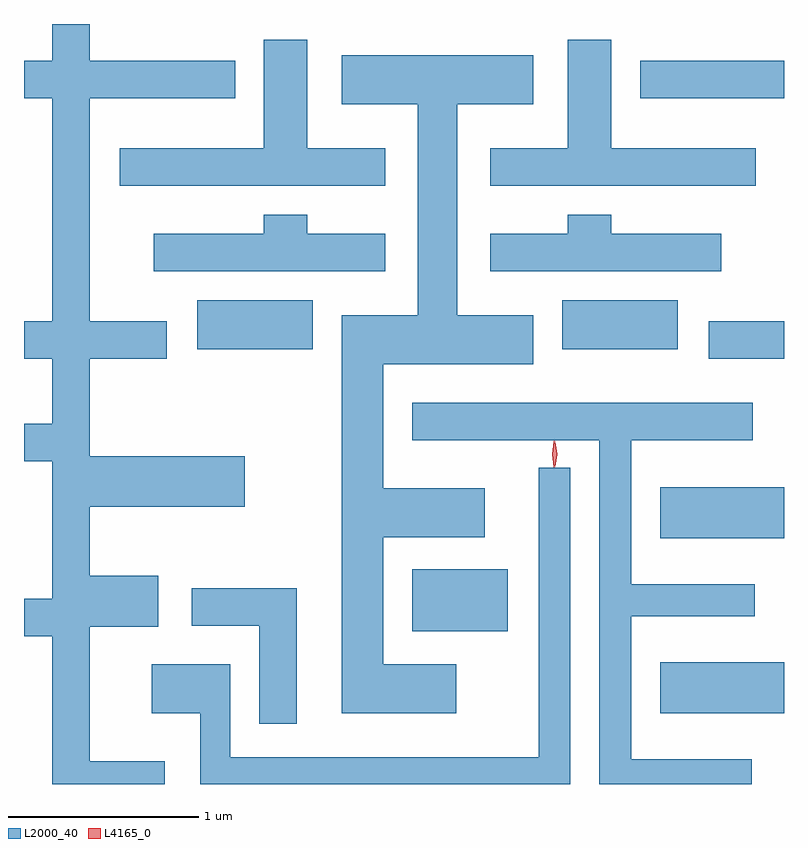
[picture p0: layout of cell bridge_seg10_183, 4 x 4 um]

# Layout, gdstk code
import gdstk
lib = gdstk.Library(unit=1e-6, precision=1e-09)
def R(c, l, rs):  # rectangles x0, y0, x1, y1
    for r in rs: c.add(gdstk.rectangle(r[:2], r[2:], *l))
def P(c, l, *ps):  # polygons
    for p in ps: c.add(gdstk.Polygon(p, *l))
L2000_40 = (2000, 40)
L4165_0 = (4165, 0)

bridge_seg10_183 = lib.new_cell('bridge_seg10_183')
R(bridge_seg10_183, L2000_40, [(1911.231,2140.881,1911.883,2141.149), (1909.926,2141.311,1910.429,2141.639), (1911.231,2141.801,1911.883,2142.069), (1911.486,2142.746,1911.883,2142.944), (1908.796,2142.796,1909.404,2143.054), (1910.716,2142.796,1911.324,2143.054), (1911.126,2144.116,1911.883,2144.314)])
P(bridge_seg10_183, L2000_40, [(1908.624,2140.629),(1908.229,2140.629),(1908.229,2141.336),(1908.589,2141.336),(1908.589,2141.604),(1908.229,2141.604),(1908.229,2141.966),(1909.044,2141.966),(1909.044,2142.234),(1908.229,2142.234),(1908.229,2142.746),(1908.634,2142.746),(1908.634,2142.944),(1908.229,2142.944),(1908.229,2144.116),(1908.994,2144.116),(1908.994,2144.314),(1908.229,2144.314),(1908.229,2144.508),(1908.031,2144.508),(1908.031,2144.314),(1907.883,2144.314),(1907.883,2144.116),(1908.031,2144.116),(1908.031,2142.944),(1907.883,2142.944),(1907.883,2142.746),(1908.031,2142.746),(1908.031,2142.404),(1907.883,2142.404),(1907.883,2142.206),(1908.031,2142.206),(1908.031,2141.484),(1907.883,2141.484),(1907.883,2141.286),(1908.031,2141.286),(1908.031,2140.508),(1908.624,2140.508)],
  [(1911.734,2143.854),(1910.974,2143.854),(1910.974,2144.424),(1910.746,2144.424),(1910.746,2143.854),(1910.336,2143.854),(1910.336,2143.656),(1911.734,2143.656)],
  [(1909.784,2143.854),(1909.374,2143.854),(1909.374,2144.424),(1909.146,2144.424),(1909.146,2143.854),(1908.386,2143.854),(1908.386,2143.656),(1909.784,2143.656)],
  [(1910.159,2141.139),(1909.774,2141.139),(1909.774,2141.806),(1910.309,2141.806),(1910.309,2142.064),(1909.774,2142.064),(1909.774,2142.716),(1910.564,2142.716),(1910.564,2142.974),(1910.164,2142.974),(1910.164,2144.086),(1910.564,2144.086),(1910.564,2144.344),(1909.556,2144.344),(1909.556,2144.086),(1909.956,2144.086),(1909.956,2142.974),(1909.556,2142.974),(1909.556,2140.881),(1910.159,2140.881)],
  [(1911.554,2143.404),(1910.974,2143.404),(1910.974,2143.504),(1910.746,2143.504),(1910.746,2143.404),(1910.336,2143.404),(1910.336,2143.206),(1911.554,2143.206)],
  [(1909.784,2143.404),(1909.374,2143.404),(1909.374,2143.504),(1909.146,2143.504),(1909.146,2143.404),(1908.566,2143.404),(1908.566,2143.206),(1909.784,2143.206)],
  [(1911.713,2140.639),(1911.079,2140.639),(1911.079,2141.391),(1911.728,2141.391),(1911.728,2141.559),(1911.079,2141.559),(1911.079,2142.316),(1911.719,2142.316),(1911.719,2142.514),(1909.926,2142.514),(1909.926,2142.316),(1910.911,2142.316),(1910.911,2140.508),(1911.713,2140.508)],
  [(1910.759,2142.173),(1910.591,2142.173),(1910.591,2140.649),(1908.969,2140.649),(1908.969,2141.139),(1908.556,2141.139),(1908.556,2140.881),(1908.811,2140.881),(1908.811,2140.508),(1910.759,2140.508)],
  [(1909.319,2141.539),(1908.766,2141.539),(1908.766,2141.341),(1909.121,2141.341),(1909.121,2140.826),(1909.319,2140.826)])
P(bridge_seg10_183, L4165_0, [(1910.678,2142.178),(1910.669,2142.244),(1910.679,2142.31),(1910.679,2142.311),(1910.68,2142.31),(1910.689,2142.244),(1910.679,2142.178),(1910.679,2142.178)],
  [(1910.673,2142.174),(1910.672,2142.175),(1910.663,2142.244),(1910.672,2142.313),(1910.673,2142.314),(1910.674,2142.313),(1910.683,2142.244),(1910.674,2142.175)])

lib.write_gds('bridge_seg10_183.gds')
